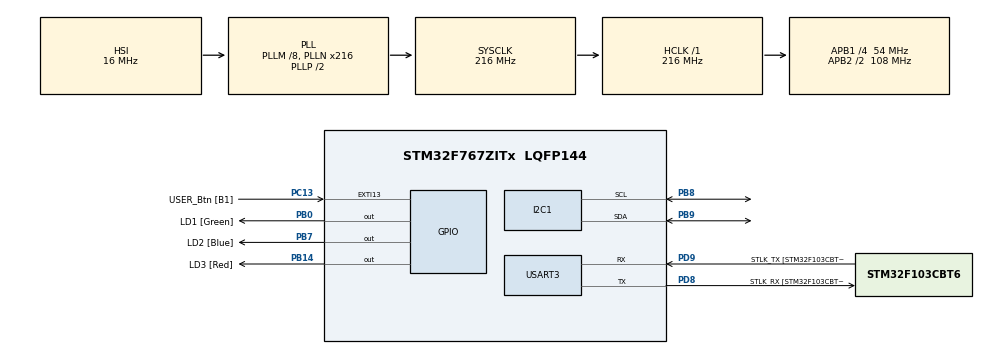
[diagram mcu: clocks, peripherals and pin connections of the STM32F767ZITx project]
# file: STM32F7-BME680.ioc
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I2C1.Timing=0x20404768
Mcu.Family=STM32F7
Mcu.Name=STM32F767ZITx
Mcu.Package=LQFP144
NVIC.I2C1_ER_IRQn=true\:0\:0\:false\:false\:true\:true\:true\:true
NVIC.I2C1_EV_IRQn=true\:0\:0\:false\:false\:true\:true\:true\:true
NVIC.PriorityGroup=NVIC_PRIORITYGROUP_4
PA1.GPIO_Label=RMII_REF_CLK [LAN8742A-CZ-TR_REFCLK0]
PA1.Signal=ETH_REF_CLK
PA13.GPIO_Label=TMS
PA13.Mode=JTAG_5_pins
PA13.Signal=SYS_JTMS-SWDIO
PA14.GPIO_Label=TCK
PA14.Mode=JTAG_5_pins
PA14.Signal=SYS_JTCK-SWCLK
PA15.Mode=JTAG_5_pins
PA15.Signal=SYS_JTDI
PA2.GPIO_Label=RMII_MDIO [LAN8742A-CZ-TR_MDIO]
PA2.Signal=ETH_MDIO
PA7.GPIO_Label=RMII_CRS_DV [LAN8742A-CZ-TR_CRS_DV]
PA7.Signal=ETH_CRS_DV
PB0.GPIO_Label=LD1 [Green]
PB0.Signal=GPIO_Output
PB13.GPIO_Label=RMII_TXD1 [LAN8742A-CZ-TR_TXD1]
PB13.Signal=ETH_TXD1
PB14.GPIO_Label=LD3 [Red]
PB14.Signal=GPIO_Output
PB3.GPIO_Label=SW0
PB3.Mode=JTAG_5_pins
PB3.Signal=SYS_JTDO-SWO
PB4.Mode=JTAG_5_pins
PB4.Signal=SYS_JTRST
PB7.GPIO_Label=LD2 [Blue]
PB7.Signal=GPIO_Output
PB8.Mode=I2C
PB8.Signal=I2C1_SCL
PB9.Mode=I2C
PB9.Signal=I2C1_SDA
PC1.GPIO_Label=RMII_MDC [LAN8742A-CZ-TR_MDC]
PC1.Signal=ETH_MDC
PC13.GPIO_Label=USER_Btn [B1]
PC13.Signal=GPXTI13
PC14/OSC32_IN.Mode=LSE-External-Clock-Source
PC14/OSC32_IN.Signal=RCC_OSC32_IN
PC15/OSC32_OUT.Mode=LSE-External-Clock-Source
PC15/OSC32_OUT.Signal=RCC_OSC32_OUT
PC4.GPIO_Label=RMII_RXD0 [LAN8742A-CZ-TR_RXD0]
PC4.Signal=ETH_RXD0
PC5.GPIO_Label=RMII_RXD1 [LAN8742A-CZ-TR_RXD1]
PC5.Signal=ETH_RXD1
PD8.GPIO_Label=STLK_RX [STM32F103CBT6_PA3]
PD8.Mode=Asynchronous
PD8.Signal=USART3_TX
PD9.GPIO_Label=STLK_TX [STM32F103CBT6_PA2]
PD9.Mode=Asynchronous
PD9.Signal=USART3_RX
PG11.GPIO_Label=RMII_TX_EN [LAN8742A-CZ-TR_TXEN]
PG11.Signal=ETH_TX_EN
PG13.GPIO_Label=RMII_TXD0 [LAN8742A-CZ-TR_TXD0]
PG13.Signal=ETH_TXD0
PH0/OSC_IN.GPIO_Label=MCO [STM32F103CBT6_PA8]
PH0/OSC_IN.Mode=HSE-External-Clock-Source
PH0/OSC_IN.Signal=RCC_OSC_IN
PH1/OSC_OUT.Mode=HSE-External-Clock-Source
PH1/OSC_OUT.Signal=RCC_OSC_OUT
ProjectManager.HeapSize=0x200
ProjectManager.StackSize=0x400
ProjectManager.TargetToolchain=STM32CubeIDE
RCC.48MHZClocksFreq_Value=24000000
RCC.AHBFreq_Value=216000000
RCC.APB1CLKDivider=RCC_HCLK_DIV4
RCC.APB1Freq_Value=54000000
RCC.APB1TimFreq_Value=108000000
RCC.APB2CLKDivider=RCC_HCLK_DIV2
RCC.APB2Freq_Value=108000000
RCC.APB2TimFreq_Value=216000000
RCC.CortexFreq_Value=216000000
RCC.HCLKFreq_Value=216000000
RCC.HSE_VALUE=16000000
RCC.HSI_VALUE=16000000
RCC.LSE_VALUE=32768
RCC.PLLM=8
RCC.PLLMUL=RCC_PLL_MUL9
RCC.PLLN=216
RCC.PRESCALERUSB=RCC_USBCLKSOURCE_PLL_DIV1_5
RCC.SYSCLKFreq_VALUE=216000000
RCC.SYSCLKSource=RCC_SYSCLKSOURCE_PLLCLK
RCC.SYSCLKSourceVirtual=RCC_SYSCLKSOURCE_PLLCLK
RCC.USBFreq_Value=216000000
RCC.VCOOutputFreq_Value=432000000
USART3.VirtualMode-Asynchronous=VM_ASYNC
board=NUCLEO-F767ZI

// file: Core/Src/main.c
/* USER CODE BEGIN Header */
/**
  ******************************************************************************
  * @file           : main.c
  * @brief          : Main program body
  ******************************************************************************
  * @attention
  *
  * Copyright (c) 2022 STMicroelectronics.
  * All rights reserved.
  *
  * This software is licensed under terms that can be found in the LICENSE file
  * in the root directory of this software component.
  * If no LICENSE file comes with this software, it is provided AS-IS.
  *
  ******************************************************************************
  */
/* USER CODE END Header */
#include "main.h"
#include "i2c.h"
#include "usart.h"
#include "gpio.h"

/* USER CODE BEGIN Includes */
#include "stdio.h"
/* USER CODE END Includes */

/* USER CODE BEGIN PD */
#define PUTCHAR_PROTOTYPE int __io_putchar(int ch)

#define BME680_ADDR	(0x77 << 1)
/* USER CODE END PD */

void SystemClock_Config(void);
/* USER CODE BEGIN PFP */
uint8_t I2C_Check_Dev_Addr(void);
/* USER CODE END PFP */

/* USER CODE BEGIN 0 */
uint8_t databuf[10] = {0};
HAL_StatusTypeDef status;
uint8_t counter = 0;
/* USER CODE END 0 */

int main(void)
{

  /* MCU Configuration--------------------------------------------------------*/

  /* Reset of all peripherals, Initializes the Flash interface and the Systick. */
  HAL_Init();

  /* Configure the system clock */
  SystemClock_Config();

  /* Initialize all configured peripherals */
  MX_GPIO_Init();
  MX_I2C1_Init();
  MX_USART3_UART_Init();
  /* USER CODE BEGIN 2 */
  printf("-----------------------\r\n");
  printf("---  Hello BME Demo ---\r\n");
  printf("-----------------------\r\n");

  I2C_Check_Dev_Addr();

  status = HAL_I2C_Mem_Read(&hi2c1, BME680_ADDR, 0xD0, 1, (uint8_t *)&databuf, 1, 0xFFFF);
  if (status != HAL_OK) {
	  printf("Different device found ...\r\n");
  } else {
	  printf("BME680_ID: %p\n", (void*)&databuf[0]);
  }
  /* USER CODE END 2 */

  /* Infinite loop */
  while (1)
  {

  }
}

void SystemClock_Config(void)
{
  RCC_OscInitTypeDef RCC_OscInitStruct = {0};
  RCC_ClkInitTypeDef RCC_ClkInitStruct = {0};

  /** Configure the main internal regulator output voltage
  */
  __HAL_RCC_PWR_CLK_ENABLE();
  __HAL_PWR_VOLTAGESCALING_CONFIG(PWR_REGULATOR_VOLTAGE_SCALE1);

  /** Initializes the RCC Oscillators according to the specified parameters
  * in the RCC_OscInitTypeDef structure.
  */
  RCC_OscInitStruct.OscillatorType = RCC_OSCILLATORTYPE_HSI;
  RCC_OscInitStruct.HSIState = RCC_HSI_ON;
  RCC_OscInitStruct.HSICalibrationValue = RCC_HSICALIBRATION_DEFAULT;
  RCC_OscInitStruct.PLL.PLLState = RCC_PLL_ON;
  RCC_OscInitStruct.PLL.PLLSource = RCC_PLLSOURCE_HSI;
  RCC_OscInitStruct.PLL.PLLM = 8;
  RCC_OscInitStruct.PLL.PLLN = 216;
  RCC_OscInitStruct.PLL.PLLP = RCC_PLLP_DIV2;
  RCC_OscInitStruct.PLL.PLLQ = 2;
  RCC_OscInitStruct.PLL.PLLR = 2;
  if (HAL_RCC_OscConfig(&RCC_OscInitStruct) != HAL_OK)
  {
    Error_Handler();
  }

  /** Activate the Over-Drive mode
  */
  if (HAL_PWREx_EnableOverDrive() != HAL_OK)
  {
    Error_Handler();
  }

  /** Initializes the CPU, AHB and APB buses clocks
  */
  RCC_ClkInitStruct.ClockType = RCC_CLOCKTYPE_HCLK|RCC_CLOCKTYPE_SYSCLK
                              |RCC_CLOCKTYPE_PCLK1|RCC_CLOCKTYPE_PCLK2;
  RCC_ClkInitStruct.SYSCLKSource = RCC_SYSCLKSOURCE_PLLCLK;
  RCC_ClkInitStruct.AHBCLKDivider = RCC_SYSCLK_DIV1;
  RCC_ClkInitStruct.APB1CLKDivider = RCC_HCLK_DIV4;
  RCC_ClkInitStruct.APB2CLKDivider = RCC_HCLK_DIV2;

  if (HAL_RCC_ClockConfig(&RCC_ClkInitStruct, FLASH_LATENCY_7) != HAL_OK)
  {
    Error_Handler();
  }
}

/* USER CODE BEGIN 4 */
/**
 * @brief Check Device Address
 */
uint8_t I2C_Check_Dev_Addr(void) {
	  status = HAL_ERROR;

	  while(status != HAL_OK) {
		  printf("Testing %p\r\n", (void *)(counter >> 0));
		  status = HAL_I2C_IsDeviceReady(&hi2c1, counter, 10, 0xFFFF);
		  if(counter > 0x100) {
			  printf("No Address Found....\r\n");
			  break;
		  }
		  if (status == HAL_OK) {
			  printf("\r\n-----------------------\r\n");
			  printf("Device Found:\n7-Bit Address %p\r\n", (void *)(counter >> 1));
			  printf("8-Bit Address %p\r\n", (void *)(counter));
			  printf("-----------------------\r\n");
			  return (counter >> 1);
		  }
		  counter++;
		  HAL_Delay(100);
	  }

	  return HAL_ERROR;
}

PUTCHAR_PROTOTYPE
{
	HAL_UART_Transmit(&huart3, (uint8_t *)&ch, sizeof(ch), 0xFFFF);
	return ch;
}
/* USER CODE END 4 */

void Error_Handler(void)
{
  __disable_irq();
  while (1)
  {
  }
}
